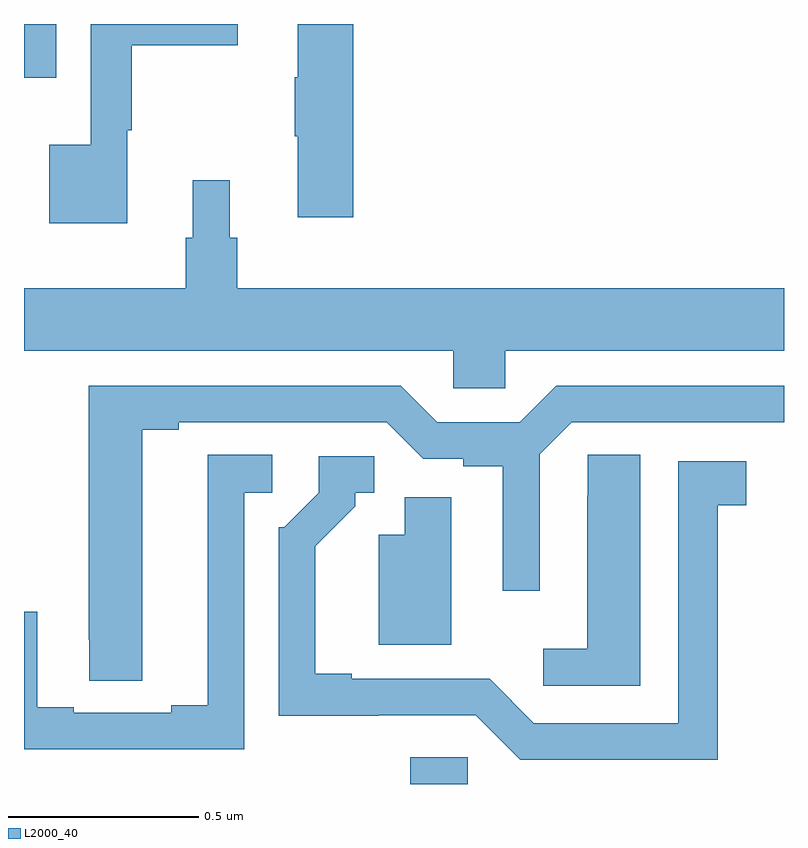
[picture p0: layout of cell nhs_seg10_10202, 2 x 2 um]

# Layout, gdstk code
import gdstk
lib = gdstk.Library(unit=1e-6, precision=1e-09)
def R(c, l, rs):  # rectangles x0, y0, x1, y1
    for r in rs: c.add(gdstk.rectangle(r[:2], r[2:], *l))
def P(c, l, *ps):  # polygons
    for p in ps: c.add(gdstk.Polygon(p, *l))
L2000_40 = (2000, 40)

nhs_seg10_10202 = lib.new_cell('nhs_seg10_10202')
R(nhs_seg10_10202, L2000_40, [(240.017,1308.5,240.168,1308.57), (239,1310.358,239.085,1310.5)])
P(nhs_seg10_10202, L2000_40, [(239.272,1310.22),(239.284,1310.22),(239.284,1310.444),(239.563,1310.444),(239.563,1310.5),(239.175,1310.5),(239.175,1310.182),(239.066,1310.182),(239.066,1309.976),(239.272,1309.976)],
  [(239.867,1310.5),(239.72,1310.5),(239.72,1310.36),(239.713,1310.36),(239.713,1310.204),(239.72,1310.204),(239.72,1309.992),(239.867,1309.992)],
  [(240.267,1309.64),(241,1309.64),(241,1309.804),(239.561,1309.804),(239.561,1309.938),(239.542,1309.938),(239.542,1310.089),(239.444,1310.089),(239.444,1309.938),(239.425,1309.938),(239.425,1309.804),(239,1309.804),(239,1309.64),(240.129,1309.64),(240.129,1309.542),(240.267,1309.542)],
  [(239.311,1309.432),(239.407,1309.432),(239.407,1309.452),(239.955,1309.452),(240.051,1309.356),(240.156,1309.356),(240.156,1309.336),(240.26,1309.336),(240.26,1309.008),(240.357,1309.008),(240.357,1309.368),(240.441,1309.452),(241,1309.452),(241,1309.548),(240.401,1309.548),(240.305,1309.452),(240.087,1309.452),(239.991,1309.548),(239.171,1309.548),(239.171,1308.88),(239.172,1308.88),(239.172,1308.772),(239.311,1308.772)],
  [(239.58,1309.266),(239.653,1309.266),(239.653,1309.367),(239.483,1309.367),(239.483,1308.707),(239.387,1308.707),(239.387,1308.687),(239.131,1308.687),(239.131,1308.702),(239.035,1308.702),(239.035,1308.953),(239,1308.953),(239,1308.591),(239.58,1308.591)],
  [(240.622,1309.367),(240.483,1309.367),(240.483,1309.259),(240.482,1309.259),(240.482,1308.856),(240.366,1308.856),(240.366,1308.759),(240.622,1308.759)],
  [(240.826,1309.234),(240.901,1309.234),(240.901,1309.35),(240.722,1309.35),(240.722,1308.66),(240.342,1308.66),(240.225,1308.777),(239.863,1308.777),(239.863,1308.79),(239.767,1308.79),(239.767,1309.126),(239.872,1309.231),(239.872,1309.266),(239.922,1309.266),(239.922,1309.362),(239.775,1309.362),(239.775,1309.266),(239.685,1309.176),(239.67,1309.176),(239.67,1308.68),(239.933,1308.68),(239.933,1308.681),(240.189,1308.681),(240.306,1308.564),(240.826,1308.564)],
  [(240.124,1309.254),(240.002,1309.254),(240.002,1309.156),(239.933,1309.156),(239.933,1308.866),(240.124,1308.866)])

lib.write_gds('nhs_seg10_10202.gds')
